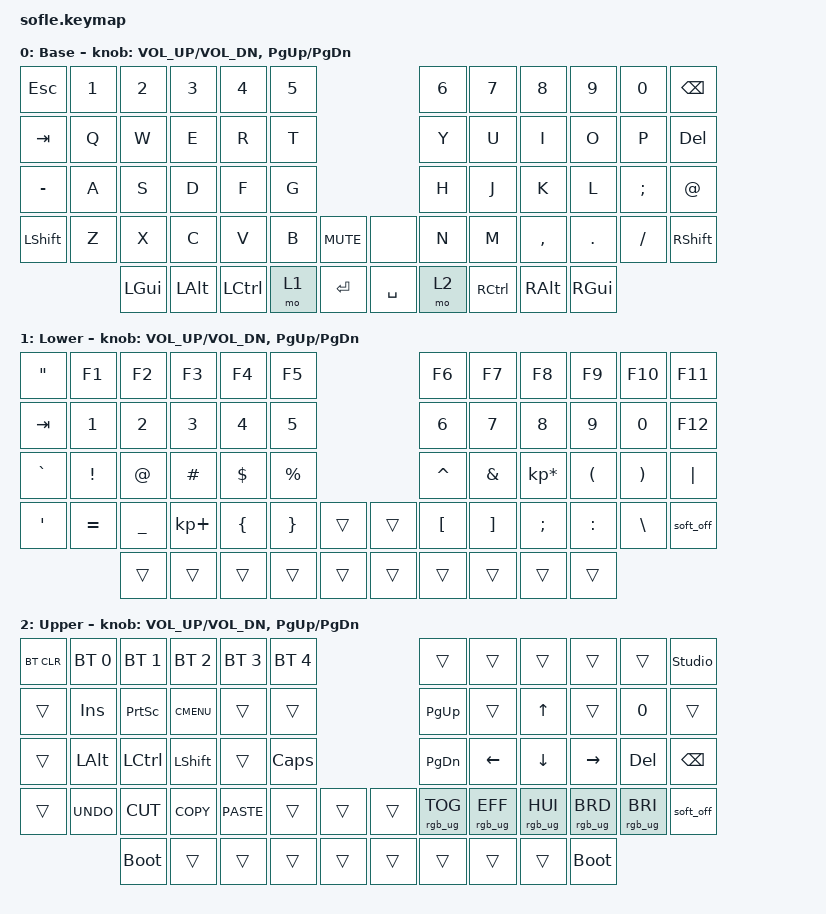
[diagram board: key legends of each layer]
/*
 * Copyright (c) 2020 The ZMK Contributors
 *
 * SPDX-License-Identifier: MIT
 */

#include <behaviors.dtsi>
#include <dt-bindings/zmk/keys.h>
#include <dt-bindings/zmk/bt.h>
#include <dt-bindings/zmk/rgb.h>

/*
 * Per-key RGB colour maps (garethbradley/zmk fork), drawn over the current underglow effect.
 * Base has no map, so it shows the plain effect. One entry per key position, in keymap order;
 * the two middle entries on the fourth row are the encoder presses (no LED under them).
 * &trans lets the effect show through; UG_OFF turns a key dark (&none isn't built on the right half).
 * LED -> key position lookup tables are in sofle_left.overlay / sofle_right.overlay.
 */
#define LOWER 1
#define RAISE 2

#define UG_OFF   &ug 0x000000
#define UG_NAV   &ug 0x00FFFF  // cyan:      arrows, PgUp/PgDn
#define UG_NUM   &ug 0xFFC000  // yellow:    digits
#define UG_SYM   &ug 0x8000FF  // purple:    symbols, brackets
#define UG_FN    &ug 0x0000FF  // blue:      F-keys
#define UG_EDIT  &ug 0xFF5000  // orange:    Tab, Ins, Del, Bksp, undo/cut/copy/paste
#define UG_MOD   &ug 0x404040  // dim white: Ctrl, Shift, Alt
#define UG_SYS   &ug 0x00FF00  // green:     RGB, Caps, Print Screen, Studio unlock
#define UG_CONN  &ug 0xFFFFFF  // white:     Bluetooth profiles
#define UG_DANGR &ug 0xFF0000  // red:       clear pairings, bootloader, soft off

/ {
    underglow-layer {
        lower_rgb {
            layer-id = <LOWER>;
            bindings = <
UG_SYM  UG_FN   UG_FN   UG_FN   UG_FN   UG_FN                   UG_FN   UG_FN   UG_FN   UG_FN   UG_FN   UG_FN
UG_EDIT UG_NUM  UG_NUM  UG_NUM  UG_NUM  UG_NUM                  UG_NUM  UG_NUM  UG_NUM  UG_NUM  UG_NUM  UG_FN
UG_SYM  UG_SYM  UG_SYM  UG_SYM  UG_SYM  UG_SYM                  UG_SYM  UG_SYM  UG_SYM  UG_SYM  UG_SYM  UG_SYM
UG_SYM  UG_SYM  UG_SYM  UG_SYM  UG_SYM  UG_SYM  &trans  &trans  UG_SYM  UG_SYM  UG_SYM  UG_SYM  UG_SYM  UG_DANGR
                &trans  &trans  &trans  &trans  &trans  &trans  &trans  &trans  &trans  &trans
            >;
        };

        raise_rgb {
            layer-id = <RAISE>;
            bindings = <
UG_DANGR UG_CONN UG_CONN UG_CONN UG_CONN UG_CONN                  &trans  &trans  &trans  &trans  &trans  UG_SYS
&trans   UG_EDIT UG_SYS  UG_SYS  &trans  &trans                   UG_NAV  &trans  UG_NAV  &trans  UG_NUM  &trans
&trans   UG_MOD  UG_MOD  UG_MOD  &trans  UG_SYS                   UG_NAV  UG_NAV  UG_NAV  UG_NAV  UG_EDIT UG_EDIT
&trans   UG_EDIT UG_EDIT UG_EDIT UG_EDIT &trans  &trans  &trans   UG_SYS  UG_SYS  UG_SYS  UG_SYS  UG_SYS  UG_DANGR
                 UG_DANGR &trans &trans  &trans  &trans  &trans   &trans  &trans  &trans  UG_DANGR
            >;
        };
    };
};

/ {
    keymap {
        compatible = "zmk,keymap";

        default_layer {
            display-name = "Base";
// ------------------------------------------------------------------------------------------------------------
// |  ESC  |  1  |  2  |  3   |  4   |  5   |                   |  6   |  7    |  8    |  9   |   0   | BKSPC  |
// |  TAB  |  Q  |  W  |  E   |  R   |  T   |                   |  Y   |  U    |  I    |  O   |   P   |  DEL  |
// | Minus |  A  |  S  |  D   |  F   |  G   |                   |  H   |  J    |  K    |  L   |   ;   |   @   |
// | SHIFT |  Z  |  X  |  C   |  V   |  B   |  MUTE  |  |       |  N   |  M    |  ,    |  .   |   /   | SHIFT |
//               | GUI | ALT  | CTRL | LOWER|  ENTER |  | SPACE | RAISE| CTRL  | ALT   | GUI  |
            bindings = <
&kp ESC   &kp N1 &kp N2   &kp N3   &kp N4    &kp N5                      &kp N6 &kp N7    &kp N8    &kp N9   &kp N0   &kp BSPC
&kp TAB   &kp Q  &kp W    &kp E    &kp R     &kp T                       &kp Y  &kp U     &kp I     &kp O    &kp P    &kp DEL
&kp MINUS &kp A  &kp S    &kp D    &kp F     &kp G                       &kp H  &kp J     &kp K     &kp L    &kp SEMI &kp AT_SIGN
&kp LSHFT &kp Z  &kp X    &kp C    &kp V     &kp B  &kp C_MUTE &none     &kp N  &kp M     &kp COMMA &kp DOT  &kp FSLH &kp RSHFT
                 &kp LGUI &kp LALT &kp LCTRL &mo 1  &kp RET    &kp SPACE &mo 2  &kp RCTRL &kp RALT  &kp RGUI
            >;

            sensor-bindings = <&inc_dec_kp C_VOL_UP C_VOL_DN &inc_dec_kp PG_UP PG_DN>;
        };

        lower_layer {
            display-name = "Lower";
// TODO: Some binds are waiting for shifted keycode support.
// ------------------------------------------------------------------------------------------------------------
// |   "   |  F1 |  F2 |  F3  |  F4  |  F5  |                   |  F6  |  F7   |  F8   |  F9  |  F10  |  F11  |
// |  TAB  |   1 |   2 |   3  |   4  |   5  |                   |   6  |   7   |   8   |   9  |    0  |  F12  |
// |   `   |  !  |  @  |  #   |  $   |  %   |                   |  ^   |  &    |  *    |  (   |   )   |   |   |
// |   '   |  =  |  _  |  +   |  {   |  }   |        |  |       |  [   |  ]    |  ;    |  :   |   \   | S OFF |
//               |     |      |      |      |        |  |       |      |       |       |      |
            bindings = <
&kp DQT   &kp F1    &kp F2    &kp F3      &kp F4    &kp F5                    &kp F6    &kp F7   &kp F8          &kp F9    &kp F10   &kp F11
&kp TAB   &kp N1    &kp N2    &kp N3      &kp N4    &kp N5                    &kp N6    &kp N7   &kp N8          &kp N9    &kp N0    &kp F12
&kp GRAVE &kp EXCL  &kp AT    &kp HASH    &kp DLLR  &kp PRCNT                 &kp CARET &kp AMPS &kp KP_MULTIPLY &kp LPAR  &kp RPAR  &kp PIPE
&kp SQT   &kp EQUAL &kp UNDER &kp KP_PLUS &kp LBRC  &kp RBRC  &trans   &trans &kp LBKT  &kp RBKT &kp SEMI        &kp COLON &kp BSLH  &soft_off
                    &trans    &trans      &trans    &trans    &trans   &trans &trans    &trans   &trans          &trans
            >;

            sensor-bindings = <&inc_dec_kp C_VOL_UP C_VOL_DN &inc_dec_kp PG_UP PG_DN>;
        };

        raise_layer {
            display-name = "Upper";
// ------------------------------------------------------------------------------------------------------------
// |BTCLR| BT1  | BT2  |  BT3  |  BT4  |  BT5 |                |      |      |       |      |       |STUDIO |
// |     | INS  | PSCR | GUI   |       |      |                | PGUP |      |   ^   |      |       |       |
// |     | ALT  | CTRL | SHIFT |       | CAPS |                | PGDN |   <- |   v   |  ->  |  DEL  | BKSPC |
// |     | UNDO | CUT  | COPY  | PASTE |      |      |  |      |RGBTOG|RGBEFF |RGBHUE |RGBBR-|RGBBR+ | S OFF |
//              | BLD  |       |       |      |      |  |      |      |      |       | BLD  |
            bindings = <
&bt BT_CLR &bt BT_SEL 0 &bt BT_SEL 1 &bt BT_SEL 2 &bt BT_SEL 3 &bt BT_SEL 4             &trans    &trans    &trans   &trans    &trans  &studio_unlock
&trans     &kp INS      &kp PSCRN    &kp K_CMENU  &trans       &trans                   &kp PG_UP &trans    &kp UP   &trans    &kp N0  &trans
&trans     &kp LALT     &kp LCTRL    &kp LSHFT    &trans       &kp CLCK                 &kp PG_DN &kp LEFT  &kp DOWN &kp RIGHT &kp DEL &kp BSPC
&trans     &kp K_UNDO   &kp K_CUT    &kp K_COPY   &kp K_PASTE  &trans  &trans   &trans  &rgb_ug RGB_TOG &rgb_ug RGB_EFF &rgb_ug RGB_HUI &rgb_ug RGB_BRD &rgb_ug RGB_BRI &soft_off
                        &bootloader  &trans       &trans       &trans  &trans   &trans  &trans    &trans    &trans   &bootloader
            >;

            sensor-bindings = <&inc_dec_kp C_VOL_UP C_VOL_DN &inc_dec_kp PG_UP PG_DN>;
        };
    };
};
